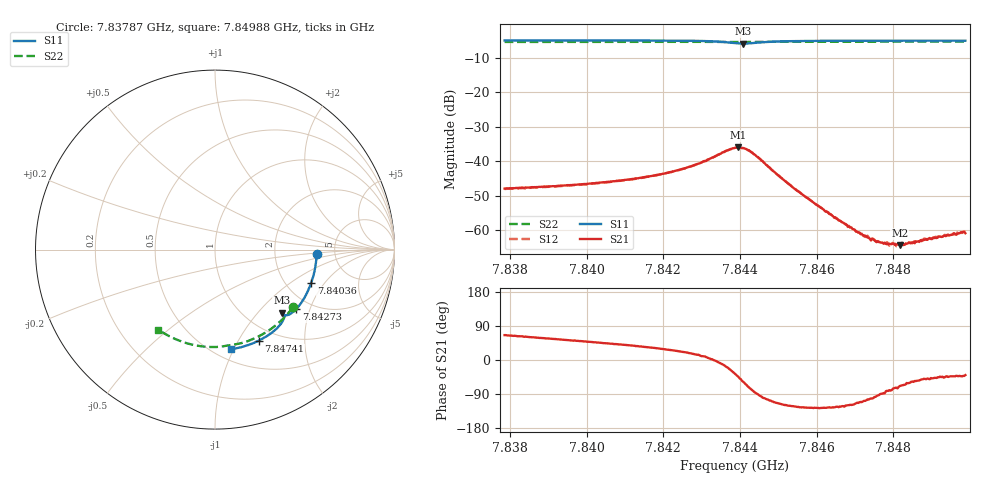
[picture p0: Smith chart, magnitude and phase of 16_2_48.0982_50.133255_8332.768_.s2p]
#  HZ  S  RI  R  50.00
! Rohde & Schwarz Vector Network Analyzer
! Rohde-Schwarz,ZNB20-2Port,1311601062101988,3.16
! Created: UTC 12/23/2023, 3:36:11 AM
! freq[Hz]  re:S11  im:S11  re:S21  im:S21  re:S12  im:S12  re:S22  im:S22
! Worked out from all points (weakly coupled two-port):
!   401 points, 7.83787 GHz to 7.84988 GHz, reference 50 ohm
!   highest |S21| = -35.88 dB at 7.84396 GHz (marker M1); lowest = -64.3 dB at 7.84816 GHz (marker M2)
!   lowest |S11| = -5.8 dB at 7.84408 GHz (marker M3), VSWR 3.10, Z = 71.2 - j67.9 ohm
!   |S11| at or under -10 dB: nowhere
!   |S22| runs from -5.4 to -5.3 dB; largest |S21 - S12| = 0.00033
!   S11 on the Smith chart (normalised r, x): 7.83787 GHz: 3.60, -0.24; 7.84036 GHz: 2.71, -1.49; 7.84273 GHz: 1.68, -1.62; 7.84741 GHz: 0.83, -1.23; 7.84988 GHz: 0.60, -0.98
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7.837865e9  0.5662 -0.0229  0.00167 0.00369  0.00164 0.00364  0.434 -0.3214
7.839877e9  0.5454 -0.1555  0.00304 0.00357  0.003 0.00351  0.3368 -0.4231
7.840358e9  0.5356 -0.1864  0.00346 0.00354  0.00343 0.00348  0.3097 -0.4434
7.841889e9  0.4903 -0.2818  0.00559 0.00325  0.00555 0.00324  0.2163 -0.4963
7.84273e9  0.4531 -0.3313  0.00816 0.00253  0.00815 0.00258  0.1609 -0.5171
7.84342e9  0.4074 -0.3638  0.0125 -0.00111  0.0124 -0.00102  0.1136 -0.5285
7.843871e9  0.3739 -0.3607  0.0127 -0.00935  0.0128 -0.00935  0.0834 -0.5325
7.843961e9  0.371 -0.3569  0.0114 -0.0113  0.0113 -0.0111  0.0778 -0.5333
7.844081e9  0.3719 -0.3517  0.00846 -0.0132  0.00864 -0.0131  0.0704 -0.5344
7.844321e9  0.3803 -0.3531  0.0024 -0.0132  0.00244 -0.0132  0.055 -0.5371
7.845132e9  0.3715 -0.4079  -0.00255 -0.00482  -0.00253 -0.00481  -0.00119 -0.5427
7.845882e9  0.3342 -0.4487  -0.00154 -0.00212  -0.00153 -0.00214  -0.0543 -0.541
7.846873e9  0.2778 -0.4889  -0.000524 -0.000979  -0.000511 -0.000969  -0.1232 -0.5303
7.847203e9  0.2582 -0.5  -0.000284 -0.000798  -0.000281 -0.00083  -0.1457 -0.5248
7.847414e9  0.2454 -0.5066  -0.000145 -0.000702  -0.000179 -0.000753  -0.1598 -0.5207
7.847654e9  0.2307 -0.5133  3.51e-07 -0.00067  -1.68e-05 -0.000674  -0.1761 -0.5157
7.847894e9  0.216 -0.5199  0.000117 -0.000632  0.000106 -0.000594  -0.1918 -0.5103
7.848164e9  0.1992 -0.5268  0.000222 -0.000569  0.000195 -0.0006  -0.2097 -0.5031
7.848314e9  0.1895 -0.5302  0.000276 -0.000581  0.00028 -0.000565  -0.2194 -0.4992
7.848765e9  0.161 -0.5397  0.000453 -0.000559  0.000431 -0.000585  -0.248 -0.4858
7.849786e9  0.0944 -0.5548  0.000683 -0.000639  0.000677 -0.000623  -0.3099 -0.4496
7.849876e9  0.0886 -0.5557  0.000702 -0.000583  0.000726 -0.000632  -0.315 -0.446
